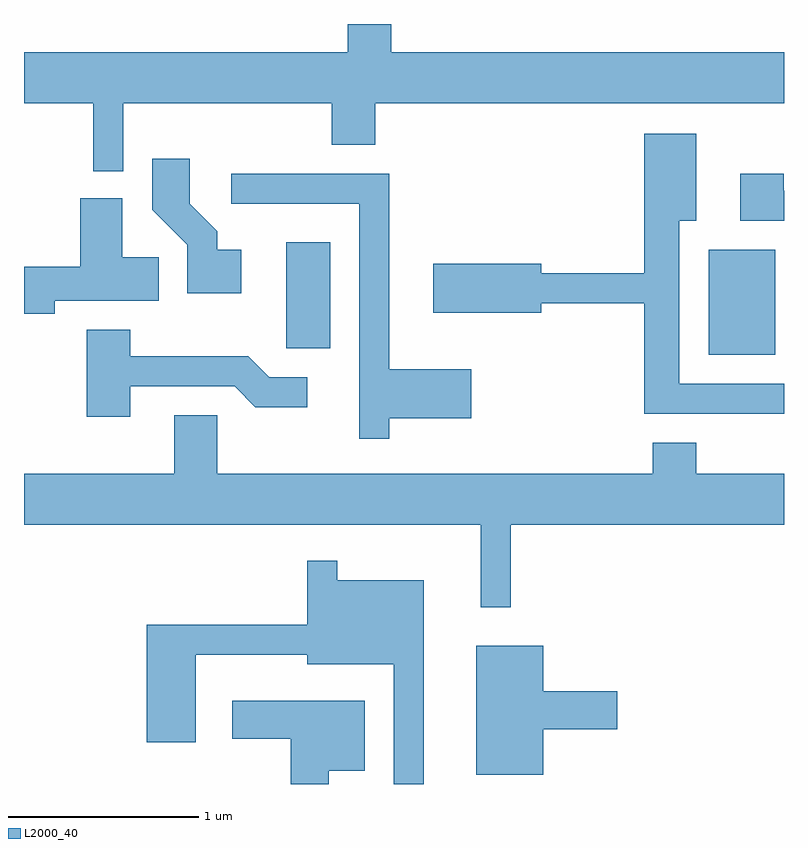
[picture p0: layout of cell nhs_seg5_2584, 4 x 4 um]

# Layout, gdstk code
import gdstk
lib = gdstk.Library(unit=1e-6, precision=1e-09)
def R(c, l, rs):  # rectangles x0, y0, x1, y1
    for r in rs: c.add(gdstk.rectangle(r[:2], r[2:], *l))
def P(c, l, *ps):  # polygons
    for p in ps: c.add(gdstk.Polygon(p, *l))
L2000_40 = (2000, 40)

nhs_seg5_2584 = lib.new_cell('nhs_seg5_2584')
R(nhs_seg5_2584, L2000_40, [(265.216,1484.331,265.564,1484.884), (262.991,1484.366,263.224,1484.924)])
P(nhs_seg5_2584, L2000_40, [(262.134,1485.656),(263.231,1485.656),(263.231,1485.436),(263.459,1485.436),(263.459,1485.656),(265.611,1485.656),(265.611,1485.924),(263.544,1485.924),(263.544,1486.072),(263.316,1486.072),(263.316,1485.924),(261.611,1485.924),(261.611,1485.656),(261.976,1485.656),(261.976,1485.298),(262.134,1485.298)],
  [(265.611,1484.179),(265.059,1484.179),(265.059,1485.036),(265.149,1485.036),(265.149,1485.494),(264.876,1485.494),(264.876,1484.759),(264.334,1484.759),(264.334,1484.809),(263.766,1484.809),(263.766,1484.551),(264.334,1484.551),(264.334,1484.601),(264.876,1484.601),(264.876,1484.021),(265.611,1484.021)],
  [(262.754,1484.884),(262.629,1484.884),(262.629,1484.982),(262.484,1485.127),(262.484,1485.364),(262.286,1485.364),(262.286,1485.094),(262.471,1484.909),(262.471,1484.656),(262.754,1484.656)],
  [(263.534,1483.996),(263.964,1483.996),(263.964,1484.254),(263.534,1484.254),(263.534,1485.284),(262.703,1485.284),(262.703,1485.126),(263.376,1485.126),(263.376,1483.888),(263.534,1483.888)],
  [(265.611,1485.194),(265.609,1485.194),(265.609,1485.284),(265.381,1485.284),(265.381,1485.036),(265.611,1485.036)],
  [(261.774,1484.616),(262.319,1484.616),(262.319,1484.844),(262.129,1484.844),(262.129,1485.154),(261.906,1485.154),(261.906,1484.794),(261.611,1484.794),(261.611,1484.546),(261.774,1484.546)],
  [(262.169,1484.166),(262.719,1484.166),(262.829,1484.056),(263.103,1484.056),(263.103,1484.214),(262.902,1484.214),(262.792,1484.324),(262.169,1484.324),(262.169,1484.464),(261.941,1484.464),(261.941,1484.006),(262.169,1484.006)],
  [(264.174,1483.436),(265.611,1483.436),(265.611,1483.704),(265.149,1483.704),(265.149,1483.869),(264.921,1483.869),(264.921,1483.704),(262.629,1483.704),(262.629,1484.014),(262.401,1484.014),(262.401,1483.704),(261.611,1483.704),(261.611,1483.436),(264.016,1483.436),(264.016,1483.003),(264.174,1483.003)],
  [(263.714,1483.144),(263.259,1483.144),(263.259,1483.248),(263.101,1483.248),(263.101,1482.909),(262.256,1482.909),(262.256,1482.291),(262.514,1482.291),(262.514,1482.751),(263.101,1482.751),(263.101,1482.701),(263.556,1482.701),(263.556,1482.072),(263.714,1482.072)],
  [(264.344,1482.361),(264.734,1482.361),(264.734,1482.559),(264.344,1482.559),(264.344,1482.799),(263.991,1482.799),(263.991,1482.121),(264.344,1482.121)],
  [(263.214,1482.141),(263.404,1482.141),(263.404,1482.509),(262.706,1482.509),(262.706,1482.311),(263.016,1482.311),(263.016,1482.072),(263.214,1482.072)])

lib.write_gds('nhs_seg5_2584.gds')
